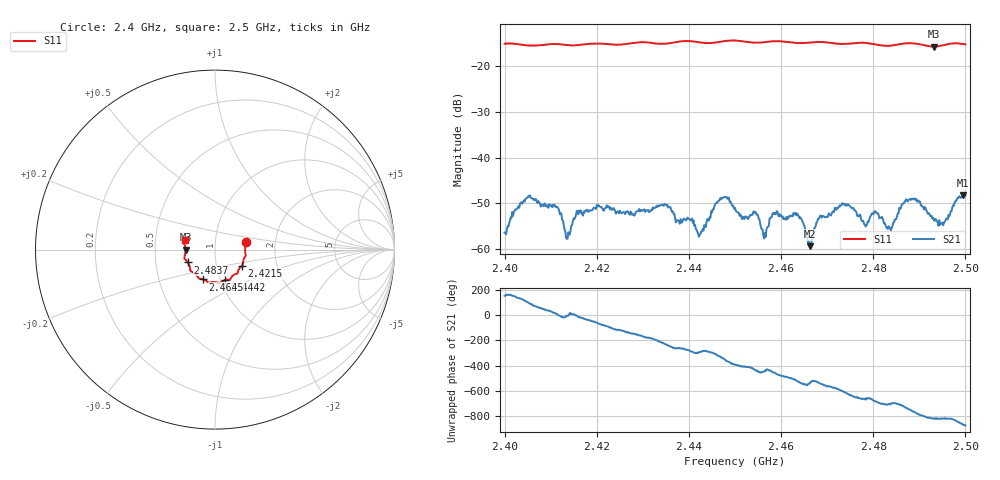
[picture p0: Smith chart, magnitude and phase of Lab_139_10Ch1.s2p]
# Hz S RI R 50
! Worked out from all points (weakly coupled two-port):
!   601 points, 2.4 GHz to 2.5 GHz, reference 50 ohm
!   highest |S21| = -48.17 dB at 2.4995 GHz (marker M1); lowest = -59.4 dB at 2.4663 GHz (marker M2)
!   lowest |S11| = -15.7 dB at 2.4932 GHz (marker M3), VSWR 1.39, Z = 35.9 - j0.0461 ohm
!   |S11| at or under -10 dB: start of sweep to end of sweep
!   S12 and S22 are empty: the file has one direction only
!   S11 on the Smith chart (normalised r, x): 2.4 GHz: 1.41, +0.12; 2.4215 GHz: 1.33, -0.25; 2.4442 GHz: 1.05, -0.37; 2.4645 GHz: 0.83, -0.29; 2.4837 GHz: 0.73, -0.11; 2.5 GHz: 0.71, +0.07
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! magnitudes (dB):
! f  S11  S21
! 2.4 GHz  -15.1  -56.4
! 2.405 GHz  -15.5  -48.7
! 2.4113 GHz  -15.2  -50.7
! 2.4137 GHz  -15.4  -57.7
! 2.4167 GHz  -15.3  -52.2
! 2.4215 GHz  -15.1  -51.6
! 2.4333 GHz  -15.1  -50.5
! 2.4442 GHz  -15.0  -53.4
! 2.4473 GHz  -14.6  -48.8
! 2.45 GHz  -14.4  -51.0
! 2.4563 GHz  -14.8  -57.7
! 2.4587 GHz  -14.5  -52.1
! 2.4645 GHz  -15.0  -53.6
! 2.4663 GHz  -14.8  -59.4
! 2.4667 GHz  -14.8  -58.0
! 2.4735 GHz  -15.1  -50.3
! 2.4833 GHz  -15.6  -55.0
! 2.4837 GHz  -15.5  -55.5
! 2.4882 GHz  -15.0  -49.3
! 2.4932 GHz  -15.7  -53.6
! 2.4995 GHz  -15.2  -48.2
! 2.5 GHz  -15.2  -48.3
